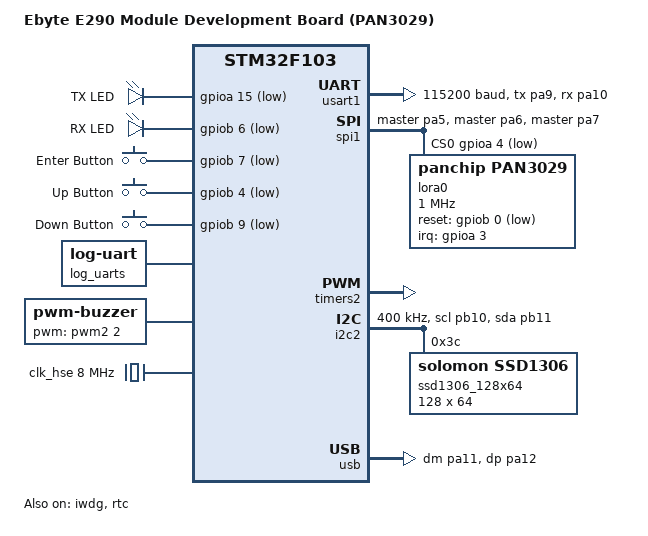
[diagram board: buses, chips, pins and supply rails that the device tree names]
/*
 * Copyright (c) 2026 MASSDRIVER EI (massdriver.space)
 *
 * SPDX-License-Identifier: Apache-2.0
 */

/dts-v1/;
#include <st/f1/stm32f103X8.dtsi>
#include <st/f1/stm32f103r(8-b)tx-pinctrl.dtsi>
#include <dt-bindings/input/input-event-codes.h>

/ {
	model = "Ebyte E290 Module Development Board (PAN3029)";
	compatible = "stm32f103";

	chosen {
		zephyr,log-uart = &log_uarts;
		zephyr,sram = &sram0;
		zephyr,flash = &flash0;
		zephyr,display = &ssd1306_128x64;
	};

	leds {
		compatible = "gpio-leds";

		tx_led: led_0 {
			gpios = <&gpioa 15 GPIO_ACTIVE_LOW>;
			label = "TX LED";
		};

		rx_led: led_1 {
			gpios = <&gpiob 6 GPIO_ACTIVE_LOW>;
			label = "RX LED";
		};
	};

	buttons {
		compatible = "gpio-keys";

		button_enter: sw0 {
			gpios = <&gpiob 7 GPIO_ACTIVE_LOW>;
			label = "Enter Button";
			zephyr,code = <INPUT_KEY_ENTER>;
		};

		button_up: sw1 {
			gpios = <&gpiob 4 GPIO_ACTIVE_LOW>;
			label = "Up Button";
			zephyr,code = <INPUT_KEY_UP>;
		};

		button_down: sw2 {
			gpios = <&gpiob 9 GPIO_ACTIVE_LOW>;
			label = "Down Button";
			zephyr,code = <INPUT_KEY_DOWN>;
		};
	};

	log_uarts: log_uarts {
		compatible = "zephyr,log-uart";
		uarts = <&usart1>;
	};

	buzzer: buzzer {
		compatible = "pwm-buzzer";
		pwms = <&pwm2 2 PWM_HZ(3520) PWM_POLARITY_INVERTED>;
	};

	aliases {
		led0 = &tx_led;
		led1 = &rx_led;
		sw0 = &button_enter;
		sw1 = &button_up;
		sw2 = &button_down;
		watchdog0 = &iwdg;
		lora0 = &lora0;
		buzzer0 = &buzzer;
	};
};

/* We use several of the JTAG pins */
&pinctrl {
	swj-cfg = "jtag-disable";
};

&clk_lsi {
	status = "okay";
};

&clk_hse {
	clock-frequency = <DT_FREQ_M(8)>;
	status = "okay";
};

&pll {
	mul = <9>;
	clocks = <&clk_hse>;
	status = "okay";
};

&rcc {
	clocks = <&pll>;
	clock-frequency = <DT_FREQ_M(72)>;
	ahb-prescaler = <1>;
	apb1-prescaler = <2>;
	apb2-prescaler = <1>;
	/* usbpre not set: USB clock = 72 / 1.5: 48MHz */
};

&usart1 {
	pinctrl-0 = <&usart1_tx_pa9 &usart1_rx_pa10>;
	pinctrl-names = "default";
	current-speed = <115200>;
	status = "okay";
};

&spi1 {
	pinctrl-0 = <&spi1_sck_master_pa5 &spi1_miso_master_pa6 &spi1_mosi_master_pa7>;
	pinctrl-names = "default";
	status = "okay";

	cs-gpios = <&gpioa 4 (GPIO_PULL_UP | GPIO_ACTIVE_LOW)>;

	lora0: lora@0 {
		compatible = "panchip,pan3029";
		status = "okay";
		reg = <0>;
		spi-max-frequency = <1000000>;
		reset-gpios = <&gpiob 0 GPIO_ACTIVE_LOW>;
		irq-gpios = <&gpioa 3 GPIO_ACTIVE_HIGH>;
		gpios-enable = <0x5>;
		gpios-standby = <0x0>;
		gpios-rx = <0x4>;
		gpios-tx = <0x1>;
	};
};

&iwdg {
	status = "okay";
};

&rtc {
	clocks = <&rcc STM32_CLOCK(APB1, 28)>,
		 <&rcc STM32_SRC_LSI RTC_SEL(2)>;
	status = "okay";
};

&timers2 {
	status = "okay";
	st,prescaler = <15>;

	pwm2: pwm {
		status = "okay";
		pinctrl-0 = <&tim2_ch2_remap1_pwm_out_pb3>;
		pinctrl-names = "default";
	};
};

&i2c2 {
	status = "okay";
	pinctrl-0 = <&i2c2_scl_pb10 &i2c2_sda_pb11>;
	pinctrl-names = "default";
	scl-gpios = <&gpiob 10 GPIO_ACTIVE_HIGH>;
	sda-gpios = <&gpiob 11 GPIO_ACTIVE_HIGH>;
	status = "okay";
	clock-frequency = <I2C_BITRATE_FAST>;

	ssd1306_128x64: display-controller@3c {
		compatible = "solomon,ssd1306";
		reg = <0x3c>;
		width = <128>;
		height = <64>;
		segment-offset = <0>;
		page-offset = <0>;
		display-offset = <0>;
		multiplex-ratio = <63>;
		segment-remap;
		com-invdir;
		inversion-on;
		prechargep = <0x22>;
	};
};

zephyr_udc0: &usb {
	pinctrl-0 = <&usb_dm_pa11 &usb_dp_pa12>;
	pinctrl-names = "default";
	status = "okay";
};

#include <../boards/common/usb/cdc_acm_serial.dtsi>

&board_cdc_acm_uart {
	tx-fifo-size = <128>;
	rx-fifo-size = <128>;
};
